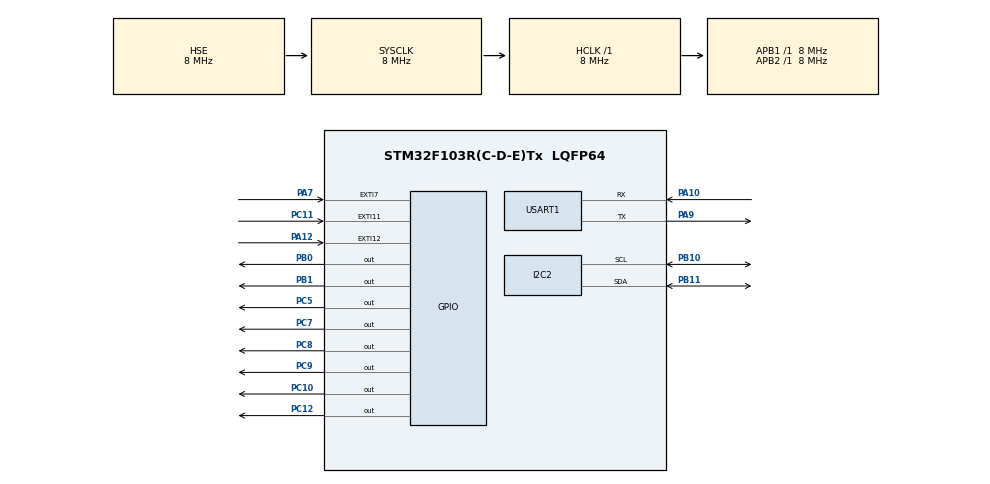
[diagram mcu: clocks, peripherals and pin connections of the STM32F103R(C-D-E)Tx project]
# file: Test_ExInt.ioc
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Dma.Request0=USART1_RX
Dma.USART1_RX.0.Direction=DMA_PERIPH_TO_MEMORY
Dma.USART1_RX.0.Instance=DMA1_Channel5
Dma.USART1_RX.0.MemDataAlignment=DMA_MDATAALIGN_BYTE
Dma.USART1_RX.0.MemInc=DMA_MINC_ENABLE
Dma.USART1_RX.0.Mode=DMA_CIRCULAR
Dma.USART1_RX.0.PeriphDataAlignment=DMA_PDATAALIGN_BYTE
Dma.USART1_RX.0.PeriphInc=DMA_PINC_DISABLE
Dma.USART1_RX.0.Priority=DMA_PRIORITY_VERY_HIGH
Mcu.Family=STM32F1
Mcu.Name=STM32F103R(C-D-E)Tx
Mcu.Package=LQFP64
NVIC.DMA1_Channel5_IRQn=true\:0\:0\:false\:false\:true
NVIC.EXTI15_10_IRQn=true\:0\:0\:false\:false\:true
NVIC.EXTI9_5_IRQn=true\:0\:0\:false\:false\:true
NVIC.PriorityGroup=NVIC_PRIORITYGROUP_4
NVIC.TIM2_IRQn=true\:0\:0\:false\:false\:true
NVIC.TIM3_IRQn=true\:0\:0\:false\:false\:true
NVIC.USART1_IRQn=true\:0\:0\:false\:false\:true
PA10.Mode=Asynchronous
PA10.Signal=USART1_RX
PA12.GPIO_ModeDefaultEXTI=GPIO_MODE_IT_FALLING
PA12.Signal=GPXTI12
PA7.GPIO_ModeDefaultEXTI=GPIO_MODE_IT_FALLING
PA7.Signal=GPXTI7
PA9.Mode=Asynchronous
PA9.Signal=USART1_TX
PB0.GPIO_Speed=GPIO_SPEED_FREQ_HIGH
PB0.PinState=GPIO_PIN_SET
PB0.Signal=GPIO_Output
PB1.GPIO_Speed=GPIO_SPEED_FREQ_HIGH
PB1.PinState=GPIO_PIN_SET
PB1.Signal=GPIO_Output
PB10.Mode=I2C
PB10.Signal=I2C2_SCL
PB11.Mode=I2C
PB11.Signal=I2C2_SDA
PC10.GPIO_Speed=GPIO_SPEED_FREQ_HIGH
PC10.PinState=GPIO_PIN_SET
PC10.Signal=GPIO_Output
PC11.GPIO_ModeDefaultEXTI=GPIO_MODE_IT_FALLING
PC11.Signal=GPXTI11
PC12.GPIO_Speed=GPIO_SPEED_FREQ_HIGH
PC12.PinState=GPIO_PIN_SET
PC12.Signal=GPIO_Output
PC5.GPIO_Speed=GPIO_SPEED_FREQ_HIGH
PC5.Signal=GPIO_Output
PC7.GPIO_Speed=GPIO_SPEED_FREQ_HIGH
PC7.Signal=GPIO_Output
PC8.GPIO_Speed=GPIO_SPEED_FREQ_HIGH
PC8.Signal=GPIO_Output
PC9.GPIO_Speed=GPIO_SPEED_FREQ_HIGH
PC9.Signal=GPIO_Output
PD0-OSC_IN.Mode=HSE-External-Oscillator
PD0-OSC_IN.Signal=RCC_OSC_IN
PD1-OSC_OUT.Mode=HSE-External-Oscillator
PD1-OSC_OUT.Signal=RCC_OSC_OUT
ProjectManager.HeapSize=0x200
ProjectManager.StackSize=0x400
ProjectManager.TargetToolchain=MDK-ARM V5
RCC.AHBFreq_Value=8000000
RCC.APB1Freq_Value=8000000
RCC.APB1TimFreq_Value=8000000
RCC.APB2Freq_Value=8000000
RCC.APB2TimFreq_Value=8000000
RCC.HCLKFreq_Value=8000000
RCC.HSIState=RCC_HSI_ON
RCC.PLLSourceVirtual=RCC_PLLSOURCE_HSE
RCC.SYSCLKFreq_VALUE=8000000
RCC.SYSCLKSource=RCC_SYSCLKSOURCE_HSE
RCC.USBFreq_Value=16000000
TIM2.Period=99
TIM2.Prescaler=8000
TIM3.Period=60000
TIM3.Prescaler=8000
VP_TIM2_VS_ClockSourceINT.Mode=Internal
VP_TIM3_VS_ClockSourceINT.Mode=Internal
board=Test_ExInt

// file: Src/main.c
/**
  ******************************************************************************
  * File Name          : main.c
  * Description        : Main program body
  ******************************************************************************
  *
  * COPYRIGHT(c) 2016 STMicroelectronics
  *
  * Redistribution and use in source and binary forms, with or without modification,
  * are permitted provided that the following conditions are met:
  *   1. Redistributions of source code must retain the above copyright notice,
  *      this list of conditions and the following disclaimer.
  *   2. Redistributions in binary form must reproduce the above copyright notice,
  *      this list of conditions and the following disclaimer in the documentation
  *      and/or other materials provided with the distribution.
  *   3. Neither the name of STMicroelectronics nor the names of its contributors
  *      may be used to endorse or promote products derived from this software
  *      without specific prior written permission.
  *
  * THIS SOFTWARE IS PROVIDED BY THE COPYRIGHT HOLDERS AND CONTRIBUTORS "AS IS"
  * AND ANY EXPRESS OR IMPLIED WARRANTIES, INCLUDING, BUT NOT LIMITED TO, THE
  * IMPLIED WARRANTIES OF MERCHANTABILITY AND FITNESS FOR A PARTICULAR PURPOSE ARE
  * DISCLAIMED. IN NO EVENT SHALL THE COPYRIGHT HOLDER OR CONTRIBUTORS BE LIABLE
  * FOR ANY DIRECT, INDIRECT, INCIDENTAL, SPECIAL, EXEMPLARY, OR CONSEQUENTIAL
  * DAMAGES (INCLUDING, BUT NOT LIMITED TO, PROCUREMENT OF SUBSTITUTE GOODS OR
  * SERVICES; LOSS OF USE, DATA, OR PROFITS; OR BUSINESS INTERRUPTION) HOWEVER
  * CAUSED AND ON ANY THEORY OF LIABILITY, WHETHER IN CONTRACT, STRICT LIABILITY,
  * OR TORT (INCLUDING NEGLIGENCE OR OTHERWISE) ARISING IN ANY WAY OUT OF THE USE
  * OF THIS SOFTWARE, EVEN IF ADVISED OF THE POSSIBILITY OF SUCH DAMAGE.
  *
  ******************************************************************************
  */
#include "stm32f1xx_hal.h"

/* USER CODE BEGIN Includes */
#include "ssd1306.h"
#include "display.h"

/* USER CODE END Includes */

I2C_HandleTypeDef hi2c2;

TIM_HandleTypeDef htim2;
TIM_HandleTypeDef htim3;

UART_HandleTypeDef huart1;
DMA_HandleTypeDef hdma_usart1_rx;

/* USER CODE BEGIN PV */
/* Private variables ---------------------------------------------------------*/
#define enter GPIO_PIN_12
#define opt 	GPIO_PIN_11
#define menu 	GPIO_PIN_7

/* Control */
_Bool time_tmp = 0, digit = 0, channel = 0, tmp_time_sample = 0, active_valve = 0;
static uint16_t  page = 1, scr = 1, back = 0;
static uint16_t   time_dv, time_chuc, save_time = 1;
volatile uint32_t j = 0, i = 0, k = 0;       /* Using it for timer */
int16_t dem = 30, tmp_push = 0, mode = 0, tmp_channel = 0, time_uart = 30, van = 0;
char wifi[20], sensor[20];

/* UART */
uint8_t Rx_indx;
char buffer[20];
uint8_t Rx_data = '\0';
char  Rx_Buffer[20], tmp[20];
uint8_t Transfer_cplt;

/* Variables for Caculation */
float pH = 6.5, DO = 3.6, Temp = 38;
uint32_t ID = 1124;
char payload[30];

/* USER CODE END PV */

void SystemClock_Config(void);
static void MX_GPIO_Init(void);
static void MX_DMA_Init(void);
static void MX_I2C2_Init(void);
static void MX_TIM2_Init(void);
static void MX_USART1_UART_Init(void);
static void MX_TIM3_Init(void);

/* USER CODE BEGIN PFP */
/* Private function prototypes -----------------------------------------------*/
void HAL_GPIO_EXTI_Callback(uint16_t GPIO_Pin);
void HAL_TIM_PeriodElapsedCallback(TIM_HandleTypeDef *htim);
void HAL_UART_RxCpltCallback(UART_HandleTypeDef *huart);
void HAL_SYSTICK_Callback(void);
void send_data(void);
void quet_mode(void);
void auto_measure(void);
void action_valve(uint16_t _van);

/* USER CODE END PFP */

int main(void)
{

  /* MCU Configuration----------------------------------------------------------*/

  /* Reset of all peripherals, Initializes the Flash interface and the Systick. */
  HAL_Init();

  /* Configure the system clock */
  SystemClock_Config();

  /* Initialize all configured peripherals */
  MX_GPIO_Init();
  MX_DMA_Init();
  MX_I2C2_Init();
  MX_TIM2_Init();
  MX_USART1_UART_Init();
  MX_TIM3_Init();

  /* USER CODE BEGIN 2 */

	__HAL_UART_FLUSH_DRREGISTER(&huart1);
	HAL_UART_Receive_DMA(&huart1, &Rx_data, 1);

	HAL_GPIO_WritePin(GPIOC, GPIO_PIN_7, GPIO_PIN_SET);			// Enable
	HAL_GPIO_WritePin(GPIOC, GPIO_PIN_8, GPIO_PIN_SET);			// GPIO0_ Flash: 0
	HAL_GPIO_WritePin(GPIOC, GPIO_PIN_9, GPIO_PIN_RESET);		// RST
	HAL_Delay(100);
	HAL_GPIO_WritePin(GPIOC, GPIO_PIN_9, GPIO_PIN_SET);

	if (SSD1306_Init() == 0)
	{
		while(1)
		{
			action_valve(1);
			HAL_Delay(50);
		}
	}
	SSD1306_flip();
	if (mode == 1)
		display(page, scr);

//	if (Transfer_cplt == 1)
//		{
//			sprintf(buffer, "%s", Rx_Buffer);
//			Transfer_cplt = 0;
//		}
//		quet_mode();

  /* USER CODE END 2 */

  /* Infinite loop */
  while (1)
  {
	if (Transfer_cplt == 1)
		{
			sprintf(buffer, "%s", Rx_Buffer);
			Transfer_cplt = 0;
		}
		quet_mode();

  }

}

/** System Clock Configuration
*/
void SystemClock_Config(void)
{

  RCC_OscInitTypeDef RCC_OscInitStruct;
  RCC_ClkInitTypeDef RCC_ClkInitStruct;

  RCC_OscInitStruct.OscillatorType = RCC_OSCILLATORTYPE_HSE;
  RCC_OscInitStruct.HSEState = RCC_HSE_ON;
  RCC_OscInitStruct.PLL.PLLState = RCC_PLL_NONE;
  HAL_RCC_OscConfig(&RCC_OscInitStruct);

  RCC_ClkInitStruct.ClockType = RCC_CLOCKTYPE_HCLK|RCC_CLOCKTYPE_SYSCLK
                              |RCC_CLOCKTYPE_PCLK1|RCC_CLOCKTYPE_PCLK2;
  RCC_ClkInitStruct.SYSCLKSource = RCC_SYSCLKSOURCE_HSE;
  RCC_ClkInitStruct.AHBCLKDivider = RCC_SYSCLK_DIV1;
  RCC_ClkInitStruct.APB1CLKDivider = RCC_HCLK_DIV1;
  RCC_ClkInitStruct.APB2CLKDivider = RCC_HCLK_DIV1;
  HAL_RCC_ClockConfig(&RCC_ClkInitStruct, FLASH_LATENCY_0);

  HAL_SYSTICK_Config(HAL_RCC_GetHCLKFreq()/1000);

  HAL_SYSTICK_CLKSourceConfig(SYSTICK_CLKSOURCE_HCLK);

  /* SysTick_IRQn interrupt configuration */
  HAL_NVIC_SetPriority(SysTick_IRQn, 0, 0);
}

/* I2C2 init function */
void MX_I2C2_Init(void)
{

  hi2c2.Instance = I2C2;
  hi2c2.Init.ClockSpeed = 100000;
  hi2c2.Init.DutyCycle = I2C_DUTYCYCLE_2;
  hi2c2.Init.OwnAddress1 = 0;
  hi2c2.Init.AddressingMode = I2C_ADDRESSINGMODE_7BIT;
  hi2c2.Init.DualAddressMode = I2C_DUALADDRESS_DISABLE;
  hi2c2.Init.OwnAddress2 = 0;
  hi2c2.Init.GeneralCallMode = I2C_GENERALCALL_DISABLE;
  hi2c2.Init.NoStretchMode = I2C_NOSTRETCH_DISABLE;
  HAL_I2C_Init(&hi2c2);

}

/* TIM2 init function */
void MX_TIM2_Init(void)
{

  TIM_ClockConfigTypeDef sClockSourceConfig;
  TIM_MasterConfigTypeDef sMasterConfig;

  htim2.Instance = TIM2;
  htim2.Init.Prescaler = 8000;
  htim2.Init.CounterMode = TIM_COUNTERMODE_UP;
  htim2.Init.Period = 99;
  htim2.Init.ClockDivision = TIM_CLOCKDIVISION_DIV1;
  HAL_TIM_Base_Init(&htim2);

  sClockSourceConfig.ClockSource = TIM_CLOCKSOURCE_INTERNAL;
  HAL_TIM_ConfigClockSource(&htim2, &sClockSourceConfig);

  sMasterConfig.MasterOutputTrigger = TIM_TRGO_RESET;
  sMasterConfig.MasterSlaveMode = TIM_MASTERSLAVEMODE_DISABLE;
  HAL_TIMEx_MasterConfigSynchronization(&htim2, &sMasterConfig);

}

/* TIM3 init function */
void MX_TIM3_Init(void)
{

  TIM_ClockConfigTypeDef sClockSourceConfig;
  TIM_MasterConfigTypeDef sMasterConfig;

  htim3.Instance = TIM3;
  htim3.Init.Prescaler = 8000;
  htim3.Init.CounterMode = TIM_COUNTERMODE_UP;
  htim3.Init.Period = 60000;
  htim3.Init.ClockDivision = TIM_CLOCKDIVISION_DIV1;
  HAL_TIM_Base_Init(&htim3);

  sClockSourceConfig.ClockSource = TIM_CLOCKSOURCE_INTERNAL;
  HAL_TIM_ConfigClockSource(&htim3, &sClockSourceConfig);

  sMasterConfig.MasterOutputTrigger = TIM_TRGO_RESET;
  sMasterConfig.MasterSlaveMode = TIM_MASTERSLAVEMODE_DISABLE;
  HAL_TIMEx_MasterConfigSynchronization(&htim3, &sMasterConfig);

}

/* USART1 init function */
void MX_USART1_UART_Init(void)
{

  huart1.Instance = USART1;
  huart1.Init.BaudRate = 115200;
  huart1.Init.WordLength = UART_WORDLENGTH_8B;
  huart1.Init.StopBits = UART_STOPBITS_1;
  huart1.Init.Parity = UART_PARITY_NONE;
  huart1.Init.Mode = UART_MODE_TX_RX;
  huart1.Init.HwFlowCtl = UART_HWCONTROL_NONE;
  huart1.Init.OverSampling = UART_OVERSAMPLING_16;
  HAL_UART_Init(&huart1);

}

void MX_DMA_Init(void)
{
  /* DMA controller clock enable */
  __HAL_RCC_DMA1_CLK_ENABLE();

  /* DMA interrupt init */
  /* DMA1_Channel5_IRQn interrupt configuration */
  HAL_NVIC_SetPriority(DMA1_Channel5_IRQn, 0, 0);
  HAL_NVIC_EnableIRQ(DMA1_Channel5_IRQn);

}

/** Configure pins as
        * Analog
        * Input
        * Output
        * EVENT_OUT
        * EXTI
*/
void MX_GPIO_Init(void)
{

  GPIO_InitTypeDef GPIO_InitStruct;

  /* GPIO Ports Clock Enable */
  __HAL_RCC_GPIOD_CLK_ENABLE();
  __HAL_RCC_GPIOA_CLK_ENABLE();
  __HAL_RCC_GPIOC_CLK_ENABLE();
  __HAL_RCC_GPIOB_CLK_ENABLE();

  /*Configure GPIO pins : PA7 PA12 */
  GPIO_InitStruct.Pin = GPIO_PIN_7|GPIO_PIN_12;
  GPIO_InitStruct.Mode = GPIO_MODE_IT_FALLING;
  GPIO_InitStruct.Pull = GPIO_NOPULL;
  HAL_GPIO_Init(GPIOA, &GPIO_InitStruct);

  /*Configure GPIO pins : PC5 PC7 PC8 PC9
                           PC10 PC12 */
  GPIO_InitStruct.Pin = GPIO_PIN_5|GPIO_PIN_7|GPIO_PIN_8|GPIO_PIN_9
                          |GPIO_PIN_10|GPIO_PIN_12;
  GPIO_InitStruct.Mode = GPIO_MODE_OUTPUT_PP;
  GPIO_InitStruct.Speed = GPIO_SPEED_FREQ_HIGH;
  HAL_GPIO_Init(GPIOC, &GPIO_InitStruct);

  /*Configure GPIO pins : PB0 PB1 */
  GPIO_InitStruct.Pin = GPIO_PIN_0|GPIO_PIN_1;
  GPIO_InitStruct.Mode = GPIO_MODE_OUTPUT_PP;
  GPIO_InitStruct.Speed = GPIO_SPEED_FREQ_HIGH;
  HAL_GPIO_Init(GPIOB, &GPIO_InitStruct);

  /*Configure GPIO pin : PC11 */
  GPIO_InitStruct.Pin = GPIO_PIN_11;
  GPIO_InitStruct.Mode = GPIO_MODE_IT_FALLING;
  GPIO_InitStruct.Pull = GPIO_NOPULL;
  HAL_GPIO_Init(GPIOC, &GPIO_InitStruct);

  /*Configure GPIO pin Output Level */
  HAL_GPIO_WritePin(GPIOC, GPIO_PIN_5|GPIO_PIN_7|GPIO_PIN_8|GPIO_PIN_9, GPIO_PIN_RESET);

  /*Configure GPIO pin Output Level */
  HAL_GPIO_WritePin(GPIOB, GPIO_PIN_0|GPIO_PIN_1, GPIO_PIN_SET);

  /*Configure GPIO pin Output Level */
  HAL_GPIO_WritePin(GPIOC, GPIO_PIN_10|GPIO_PIN_12, GPIO_PIN_SET);

  /* EXTI interrupt init*/
  HAL_NVIC_SetPriority(EXTI9_5_IRQn, 0, 0);
  HAL_NVIC_EnableIRQ(EXTI9_5_IRQn);

  HAL_NVIC_SetPriority(EXTI15_10_IRQn, 0, 0);
  HAL_NVIC_EnableIRQ(EXTI15_10_IRQn);

}

/* USER CODE BEGIN 4 */

void quet_mode(void)
{
	if (mode == 0)
		{
			screen_check(dem, buffer, "Connected");
			if (dem == 0)
			{
				HAL_TIM_Base_Start_IT(&htim3);
				active_valve = 1;
				mode = 2;
				dem = 10;
			}
		}
		else if (mode == 1)
		{
			if (back == 4)
			{
				if (tmp_time_sample == 1)
					Time_Sample(time_chuc, time_dv, 3);
				else
					Time_Sample(time_chuc, time_dv, digit);
			}
			else if (back == 1)
			{
				if (tmp_push == 2)
				{
					Active_Calib(dem);
					if (dem < 0)
					{
						dem = 10;
						tmp_push = 0;
					}
				}
				else
				{
					screen_PH();
				}
			}
			else if (back == 2)
			{
				if (tmp_push == 2)
				{
					Active_Calib(dem);
					if (dem < 0)
					{
						dem = 10;
						tmp_push = 0;
					}
				}
				else
				{
					screen_DO();
				}

			}
			else if (back == 3)
			{
				if (tmp_push == 2)
				{
					Active_Calib(dem);
					if (dem < 0)
					{
						dem = 10;
						tmp_push = 0;
					}
				}
				else
				{
					screen_Cond();
				}
			}
			else if (back == 0)
			{
				display(page, scr);
			}
			else if (back == 5)
			{
				Set_Channel(channel);
			}
		}
		else if (mode == 2)
		{
			auto_measure();
		}
}
void HAL_GPIO_EXTI_Callback(uint16_t GPIO_Pin)
{

	/* If press Menu */
	if (GPIO_Pin == menu)
	{
		HAL_TIM_Base_Stop_IT(&htim3);
		mode = 1;
		scr = 1;
		time_uart = 60;

		/* If press Menu in Page PH, DO, COND  */
		if (back == 0)
		{
			if (page > 1)
				page = 1;
		}
		else
			back = 0;
	}

	/* If press Opt */
	if (GPIO_Pin == opt)
	{
		if (mode == 1)
		{
			if (back == 0)
			{
				scr++;
				if (page == 1)
				{
					if (scr > 3)			scr = 1;
				}
				else if (page == 2)
				{
					if (scr > 3)			scr = 1;
				}
				else if (page == 3)
				{
					if (scr > 2)			scr = 1;
				}
			}
			else if (back == 4)									/* If press OPT in Time_Sample */
			{
				HAL_TIM_Base_Start_IT(&htim2);
				tmp_time_sample = 0;
			}
			else if (back == 5)
			{
				channel =! channel;
			}
		}
	}

	/* If press Enter */
	if (GPIO_Pin == enter)
	{
		if (mode == 1)
		{
			if (page == 1) 							/* Menu page */
			{
				if (scr == 1)					/* Calibration */
				{
					page = 2;
				}
				else if (scr == 2)		/* Set-up */
				{
					page = 3;
					scr = 1;
				}
				else if (scr == 3)		/* BACK */
				{
					mode = 0;
					active_valve = 1;
					HAL_TIM_Base_Start_IT(&htim3);
				}
			}
			else if (page == 2)					/* Calibration page */
			{
				if (back == 0)
				{
					if (scr == 1)					/* PH */
					{
						back = 1;
					}
					else if (scr == 2)		/* DO */
					{
						back = 2;
					}
					else if (scr == 3)		/* COND */
					{
						back = 3;
					}
				}
			}
			else if (page == 3)							/* Set-up page */
			{
				if (back == 0)
				{
					if (scr == 2)				/*  */
					{
						time_chuc = save_time/10;
						time_dv = save_time%10;
						back = 4;
						digit = 0;
						tmp_time_sample = 1;
					}
					else if (scr == 1)
					{
						back = 5;
					}
				}
				else if (back == 4)
				{
					save_time = time_chuc*10 + time_dv;
					tmp_time_sample = 1;
				}
			}

		/* Press Enter if you want to calibrate */
			/* tmp_push = 1 : the first time, tmp_push = 2 : the second time */
		if ((back == 1) || (back == 2) || (back == 3))
			{
				tmp_push++;
			}

			/* Press Enter if you want to save time sample */
			if ((back == 4) && (time_tmp == 1))
			{
				//time_tmp = 0;
				save_time = time_chuc*10 + time_dv;
				digit = 3;
				//Time_Sample(save_time/10, save_time%10, 3);
			}
		}
	}
}

void HAL_SYSTICK_Callback(void)
{
	if (mode == 0)
	{
		i++;
		if(i > 1000)
		{
			dem--;
			i = 0;
		}
	}
	if ((back == 1) || (back == 2) || (back == 3))
	{
		if (tmp_push == 2)
		{
			i++;
			if (i > 1000)
			{
				dem--;
				i = 0;
			}
		}
	}
	if (mode == 2)
	{
		if (active_valve == 1)
		{
			i++;
			if (i > 1000)
			{
				time_uart--;
				i = 0;
			}
		}
	}
}

void HAL_TIM_PeriodElapsedCallback(TIM_HandleTypeDef *htim)
{
	if (htim->Instance == TIM2)
	{
		if (HAL_GPIO_ReadPin(GPIOC, GPIO_PIN_11) == 0)
		{
			j++;
			if ( j == 10)
				{
					digit =! digit;
					j = 0;
				}
		}
		else
		{
			j = 0;
			if (digit == 0)									/* Hang don vi */
				{
					time_dv++;
					if (time_dv > 9)			time_dv = 0;
				}
				else if (digit == 1)														/* Hang chuc */
				{
					time_chuc++;
					if (time_chuc > 9)		time_chuc = 0;
				}
			HAL_TIM_Base_Stop_IT(&htim2);
		}
	}
	if (htim->Instance == TIM3)
	{
		k++;
		if (k == save_time)
		{
			active_valve = 1;
			van++;
			if (van > 4)
				van = 1;
			k = 0;
		}
	}

}

void HAL_UART_RxCpltCallback(UART_HandleTypeDef *huart)
{
	__HAL_UART_FLUSH_DRREGISTER(&huart1);
	if (huart->Instance == USART1)
	{
		if (Rx_indx == 0)			{for (i = 0; i <20; i++ )		Rx_Buffer[i]=0;}
		if (Rx_data == '\n')
		{
			Rx_indx = 0;
			Transfer_cplt = 1;
		}
		else
		{
			Rx_Buffer[Rx_indx] = Rx_data;
			Rx_indx++;
		}
	}
}
void send_data(void)
{
	sprintf(payload,"%d,%2.2f,%2.2f,%2.2f", van, pH, DO, Temp);
	HAL_UART_Transmit(&huart1, (uint8_t *)payload, sizeof(payload), 5000);
}

void auto_measure(void)
{
	if (active_valve == 1)
	{
		if ( time_uart > 0)
		{
			Caculation(van, pH, DO, Temp, 0, 1);
			sprintf(tmp,"%d", time_uart);
			SSD1306_GotoXY(86, 0);
			SSD1306_Puts(tmp, &TM_Font_7x10, SSD1306_COLOR_WHITE);
			SSD1306_UpdateScreen();
			action_valve(van);
		}
		else
		{
			action_valve(0);
			pH = rand() % 10 + 1;
			Temp = rand() % 100;
			DO = rand() % 100;
			Caculation(van, pH, DO, Temp, 1, 1);
			time_uart = 30;
			send_data();
			active_valve = 0;
		}
	}
}

void action_valve(uint16_t _van)
{
	if (_van == 1)
	{
		HAL_GPIO_WritePin(GPIOB, GPIO_PIN_0, GPIO_PIN_RESET);
		HAL_GPIO_WritePin(GPIOB, GPIO_PIN_1, GPIO_PIN_SET);
		HAL_GPIO_WritePin(GPIOC, GPIO_PIN_10, GPIO_PIN_SET);
		HAL_GPIO_WritePin(GPIOC, GPIO_PIN_12, GPIO_PIN_SET);
	}
	else if (_van == 2)
	{
		HAL_GPIO_WritePin(GPIOB, GPIO_PIN_0, GPIO_PIN_SET);
		HAL_GPIO_WritePin(GPIOB, GPIO_PIN_1, GPIO_PIN_RESET);
		HAL_GPIO_WritePin(GPIOC, GPIO_PIN_10, GPIO_PIN_SET);
		HAL_GPIO_WritePin(GPIOC, GPIO_PIN_12, GPIO_PIN_SET);
	}
	else if (_van == 3)
	{
		HAL_GPIO_WritePin(GPIOB, GPIO_PIN_0, GPIO_PIN_SET);
		HAL_GPIO_WritePin(GPIOB, GPIO_PIN_1, GPIO_PIN_SET);
		HAL_GPIO_WritePin(GPIOC, GPIO_PIN_10, GPIO_PIN_RESET);
		HAL_GPIO_WritePin(GPIOC, GPIO_PIN_12, GPIO_PIN_SET);
	}
	else if (_van == 4)
	{
		HAL_GPIO_WritePin(GPIOB, GPIO_PIN_0, GPIO_PIN_SET);
		HAL_GPIO_WritePin(GPIOB, GPIO_PIN_1, GPIO_PIN_SET);
		HAL_GPIO_WritePin(GPIOC, GPIO_PIN_10, GPIO_PIN_SET);
		HAL_GPIO_WritePin(GPIOC, GPIO_PIN_12, GPIO_PIN_RESET);
	}
	else if (_van == 0)
	{
		HAL_GPIO_WritePin(GPIOB, GPIO_PIN_0, GPIO_PIN_SET);
		HAL_GPIO_WritePin(GPIOB, GPIO_PIN_1, GPIO_PIN_SET);
		HAL_GPIO_WritePin(GPIOC, GPIO_PIN_10, GPIO_PIN_SET);
		HAL_GPIO_WritePin(GPIOC, GPIO_PIN_12, GPIO_PIN_SET);
	}
}

/* USER CODE END 4 */

/************************ (C) COPYRIGHT STMicroelectronics *****END OF FILE****/
